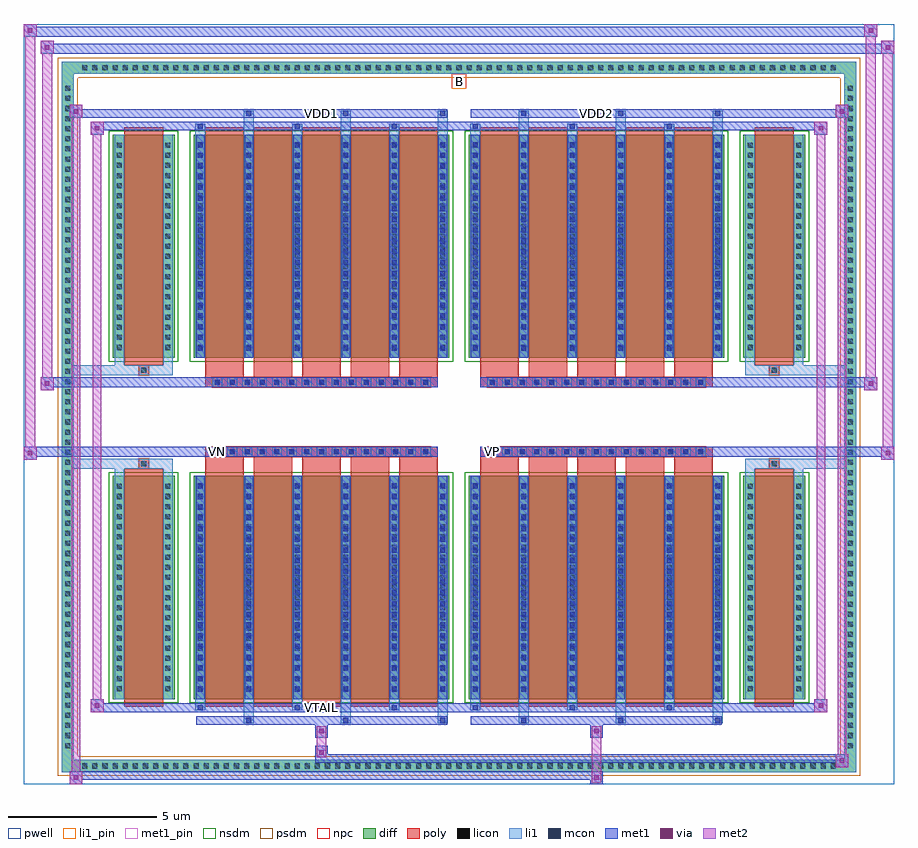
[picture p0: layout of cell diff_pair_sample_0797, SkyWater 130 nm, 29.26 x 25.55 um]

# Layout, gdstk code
import gdstk
lib = gdstk.Library(unit=1e-6, precision=5e-09)
def R(c, l, rs):  # rectangles x0, y0, x1, y1
    for r in rs: c.add(gdstk.rectangle(r[:2], r[2:], *l))
def A(c, l, x, y, w, h, nx, ny, dx, dy):  # array of equal rectangles
    R(c, l, [(x+i*dx, y+j*dy, x+i*dx+w, y+j*dy+h) for i in range(nx) for j in range(ny)])
def P(c, l, *ps):  # polygons
    for p in ps: c.add(gdstk.Polygon(p, *l))
pwell = (64, 44)
diff = (65, 20)
poly = (66, 20)
licon = (66, 44)
li1_pin = (67, 16)
li1 = (67, 20)
mcon = (67, 44)
met1_pin = (68, 16)
met1 = (68, 20)
via = (68, 44)
met2 = (69, 20)
nsdm = (93, 44)
psdm = (94, 20)
npc = (95, 20)

diff_pair_sample_0797 = lib.new_cell('diff_pair_sample_0797')
R(diff_pair_sample_0797, pwell, [(-14.63,-12.34,14.63,13.21), (-11.95,-10.53,-0.01,-0.805), (0.01,-10.53,11.95,-0.805), (-11.95,0.805,-0.01,10.53), (0.01,0.805,11.95,10.53)])
A(diff_pair_sample_0797, diff, -12.785, -11.94, 0.41, 0.41, 75, 2, 0.34, 23.47)
A(diff_pair_sample_0797, diff, -13.36, -11.255, 0.41, 0.41, 1, 66, 0, 0.34)
A(diff_pair_sample_0797, diff, 12.95, -11.255, 0.41, 0.41, 1, 66, 0, 0.34)
R(diff_pair_sample_0797, diff, [(-12.785,-11.94,12.785,-11.53), (-13.36,-11.255,-12.95,11.255), (12.95,-11.255,13.36,11.255), (-11.64,-9.485,-9.56,-1.985), (-8.92,-9.485,-0.32,-1.985), (0.32,-9.485,8.92,-1.985), (9.56,-9.485,11.64,-1.985), (-11.64,1.985,-9.56,9.485), (-8.92,1.985,-0.32,9.485), (0.32,1.985,8.92,9.485), (9.56,1.985,11.64,9.485), (-12.785,11.53,12.785,11.94)])
P(diff_pair_sample_0797, diff, [(13.36,11.94),(-13.36,11.94),(-13.36,-11.53),(-12.95,-11.53),(-12.95,11.53),(12.95,11.53),(12.95,-11.53),(-12.95,-11.53),(-13.36,-11.53),(-13.36,-11.94),(13.36,-11.94)])
A(diff_pair_sample_0797, poly, -8.53, -9.735, 1.3, 8, 5, 2, 1.63, 11.47)
A(diff_pair_sample_0797, poly, 0.71, -9.735, 1.3, 8, 5, 2, 1.63, 11.47)
A(diff_pair_sample_0797, poly, -8.53, -1.735, 1.3, 0.4, 5, 2, 1.63, 3.07)
A(diff_pair_sample_0797, poly, 0.71, -1.735, 1.3, 0.4, 5, 2, 1.63, 3.07)
A(diff_pair_sample_0797, poly, -8.285, -1.335, 0.33, 0.33, 15, 2, 0.5, 2.34)
A(diff_pair_sample_0797, poly, 0.955, -1.335, 0.33, 0.33, 15, 2, 0.5, 2.34)
R(diff_pair_sample_0797, poly, [(-11.25,-9.735,-9.95,-1.735), (9.95,-9.735,11.25,-1.735), (-10.765,-1.735,-10.435,-1.405), (-10.765,-1.735,-10.435,-1.405), (10.435,-1.735,10.765,-1.405), (10.435,-1.735,10.765,-1.405), (-8.53,-1.335,-0.71,-1.005), (0.71,-1.335,8.53,-1.005), (-8.53,1.005,-0.71,1.335), (0.71,1.005,8.53,1.335), (-10.765,1.405,-10.435,1.735), (-10.765,1.405,-10.435,1.735), (10.435,1.405,10.765,1.735), (10.435,1.405,10.765,1.735), (-11.25,1.735,-9.95,9.735), (9.95,1.735,11.25,9.735)])
A(diff_pair_sample_0797, licon, -12.665, -11.82, 0.17, 0.17, 75, 2, 0.34, 23.47)
A(diff_pair_sample_0797, licon, -13.24, -11.135, 0.17, 0.17, 1, 66, 0, 0.34)
A(diff_pair_sample_0797, licon, 13.07, -11.135, 0.17, 0.17, 1, 66, 0, 0.34)
A(diff_pair_sample_0797, licon, -11.5, -9.22, 0.17, 0.17, 1, 21, 0, 0.34)
A(diff_pair_sample_0797, licon, -9.87, -9.22, 0.17, 0.17, 1, 21, 0, 0.34)
A(diff_pair_sample_0797, licon, -8.78, -9.22, 0.17, 0.17, 6, 21, 1.63, 0.34)
A(diff_pair_sample_0797, licon, 0.46, -9.22, 0.17, 0.17, 6, 21, 1.63, 0.34)
A(diff_pair_sample_0797, licon, 9.7, -9.22, 0.17, 0.17, 1, 21, 0, 0.34)
A(diff_pair_sample_0797, licon, 11.33, -9.22, 0.17, 0.17, 1, 21, 0, 0.34)
A(diff_pair_sample_0797, licon, -8.205, -1.255, 0.17, 0.17, 15, 2, 0.5, 2.34)
A(diff_pair_sample_0797, licon, 1.035, -1.255, 0.17, 0.17, 15, 2, 0.5, 2.34)
A(diff_pair_sample_0797, licon, -11.5, 2.25, 0.17, 0.17, 1, 21, 0, 0.34)
A(diff_pair_sample_0797, licon, -9.87, 2.25, 0.17, 0.17, 1, 21, 0, 0.34)
A(diff_pair_sample_0797, licon, -8.78, 2.25, 0.17, 0.17, 6, 21, 1.63, 0.34)
A(diff_pair_sample_0797, licon, 0.46, 2.25, 0.17, 0.17, 6, 21, 1.63, 0.34)
A(diff_pair_sample_0797, licon, 9.7, 2.25, 0.17, 0.17, 1, 21, 0, 0.34)
A(diff_pair_sample_0797, licon, 11.33, 2.25, 0.17, 0.17, 1, 21, 0, 0.34)
R(diff_pair_sample_0797, licon, [(-10.685,-1.655,-10.515,-1.485), (10.515,-1.655,10.685,-1.485), (-10.685,1.485,-10.515,1.655), (10.515,1.485,10.685,1.655)])
R(diff_pair_sample_0797, li1_pin, [(-0.25,11.03,0.25,11.53)])
A(diff_pair_sample_0797, li1, -12.745, -11.9, 0.33, 0.33, 75, 2, 0.34, 23.47)
A(diff_pair_sample_0797, li1, -13.32, -11.215, 0.33, 0.33, 1, 66, 0, 0.34)
A(diff_pair_sample_0797, li1, 12.99, -11.215, 0.33, 0.33, 1, 66, 0, 0.34)
A(diff_pair_sample_0797, li1, -7.23, -10.29, 0.33, 0.805, 3, 2, 3.26, 19.775)
A(diff_pair_sample_0797, li1, -7.15, -10.29, 0.17, 0.17, 3, 2, 3.26, 20.41)
A(diff_pair_sample_0797, li1, 2.01, -10.29, 0.33, 0.805, 3, 2, 3.26, 19.775)
A(diff_pair_sample_0797, li1, 2.09, -10.29, 0.17, 0.17, 3, 2, 3.26, 20.41)
A(diff_pair_sample_0797, li1, -8.86, -9.86, 0.33, 0.375, 3, 2, 3.26, 19.345)
A(diff_pair_sample_0797, li1, -8.78, -9.86, 0.17, 0.17, 3, 2, 3.26, 19.55)
A(diff_pair_sample_0797, li1, 0.38, -9.86, 0.33, 0.375, 3, 2, 3.26, 19.345)
A(diff_pair_sample_0797, li1, 0.46, -9.86, 0.17, 0.17, 3, 2, 3.26, 19.55)
A(diff_pair_sample_0797, li1, -8.86, -9.485, 0.33, 7.5, 6, 2, 1.63, 11.47)
A(diff_pair_sample_0797, li1, 0.38, -9.485, 0.33, 7.5, 6, 2, 1.63, 11.47)
A(diff_pair_sample_0797, li1, -11.58, -9.3, 0.33, 0.33, 1, 21, 0, 0.34)
A(diff_pair_sample_0797, li1, -9.95, -9.3, 0.33, 0.33, 1, 21, 0, 0.34)
A(diff_pair_sample_0797, li1, -8.86, -9.3, 0.33, 0.33, 6, 21, 1.63, 0.34)
A(diff_pair_sample_0797, li1, 0.38, -9.3, 0.33, 0.33, 6, 21, 1.63, 0.34)
A(diff_pair_sample_0797, li1, 9.62, -9.3, 0.33, 0.33, 1, 21, 0, 0.34)
A(diff_pair_sample_0797, li1, 11.25, -9.3, 0.33, 0.33, 1, 21, 0, 0.34)
A(diff_pair_sample_0797, li1, -8.78, -9.24, 0.17, 0.17, 6, 20, 1.63, 0.36)
A(diff_pair_sample_0797, li1, -8.78, -9.24, 0.17, 7.01, 6, 2, 1.63, 11.47)
A(diff_pair_sample_0797, li1, 0.46, -9.24, 0.17, 0.17, 6, 20, 1.63, 0.36)
A(diff_pair_sample_0797, li1, 0.46, -9.24, 0.17, 7.01, 6, 2, 1.63, 11.47)
A(diff_pair_sample_0797, li1, -8.285, -1.335, 0.33, 0.33, 15, 2, 0.5, 2.34)
A(diff_pair_sample_0797, li1, 0.955, -1.335, 0.33, 0.33, 15, 2, 0.5, 2.34)
A(diff_pair_sample_0797, li1, -11.58, 2.17, 0.33, 0.33, 1, 21, 0, 0.34)
A(diff_pair_sample_0797, li1, -9.95, 2.17, 0.33, 0.33, 1, 21, 0, 0.34)
A(diff_pair_sample_0797, li1, -8.86, 2.17, 0.33, 0.33, 6, 21, 1.63, 0.34)
A(diff_pair_sample_0797, li1, 0.38, 2.17, 0.33, 0.33, 6, 21, 1.63, 0.34)
A(diff_pair_sample_0797, li1, 9.62, 2.17, 0.33, 0.33, 1, 21, 0, 0.34)
A(diff_pair_sample_0797, li1, 11.25, 2.17, 0.33, 0.33, 1, 21, 0, 0.34)
A(diff_pair_sample_0797, li1, -8.78, 2.23, 0.17, 0.17, 6, 20, 1.63, 0.36)
A(diff_pair_sample_0797, li1, 0.46, 2.23, 0.17, 0.17, 6, 20, 1.63, 0.36)
R(diff_pair_sample_0797, li1, [(-13.36,-11.94,-12.95,-11.53), (-13.36,-11.94,-12.95,-11.53), (-12.95,-11.94,12.95,-11.53), (12.95,-11.94,13.36,-11.53), (12.95,-11.94,13.36,-11.53), (-13.36,-11.53,-12.95,11.53), (12.95,-11.53,13.36,11.53), (-11.58,-9.485,-11.25,-1.985), (-9.95,-9.485,-9.62,-1.985), (9.62,-9.485,9.95,-1.985), (11.25,-9.485,11.58,-1.985), (-11.58,-1.985,-11.25,-1.405), (-9.95,-1.985,-9.62,-1.405), (9.62,-1.985,9.95,-1.405), (11.25,-1.985,11.58,-1.405), (-13.36,-1.735,-10.765,-1.405), (-11.58,-1.735,-10.765,-1.405), (-10.765,-1.735,-10.435,-1.405), (-10.435,-1.735,-9.62,-1.405), (9.62,-1.735,10.435,-1.405), (10.435,-1.735,10.765,-1.405), (10.435,-1.735,13.36,-1.405), (10.765,-1.735,11.58,-1.405), (-13.36,1.405,-10.765,1.735), (-11.58,1.405,-10.765,1.735), (-11.58,1.405,-11.25,1.985), (-10.765,1.405,-10.435,1.735), (-10.435,1.405,-9.62,1.735), (-9.95,1.405,-9.62,1.985), (9.62,1.405,10.435,1.735), (9.62,1.405,9.95,1.985), (10.435,1.405,10.765,1.735), (10.435,1.405,13.36,1.735), (10.765,1.405,11.58,1.735), (11.25,1.405,11.58,1.985), (-11.58,1.985,-11.25,9.485), (-9.95,1.985,-9.62,9.485), (9.62,1.985,9.95,9.485), (11.25,1.985,11.58,9.485), (-13.36,11.53,-12.95,11.94), (-13.36,11.53,-12.95,11.94), (-12.95,11.53,12.95,11.94), (12.95,11.53,13.36,11.94), (12.95,11.53,13.36,11.94)])
A(diff_pair_sample_0797, mcon, -7.15, -10.29, 0.17, 0.17, 3, 2, 3.26, 20.41)
A(diff_pair_sample_0797, mcon, 2.09, -10.29, 0.17, 0.17, 3, 2, 3.26, 20.41)
A(diff_pair_sample_0797, mcon, -8.78, -9.86, 0.17, 0.17, 3, 2, 3.26, 19.55)
A(diff_pair_sample_0797, mcon, 0.46, -9.86, 0.17, 0.17, 3, 2, 3.26, 19.55)
A(diff_pair_sample_0797, mcon, -8.78, -9.24, 0.17, 0.17, 6, 20, 1.63, 0.36)
A(diff_pair_sample_0797, mcon, 0.46, -9.24, 0.17, 0.17, 6, 20, 1.63, 0.36)
A(diff_pair_sample_0797, mcon, -8.205, -1.255, 0.17, 0.17, 15, 2, 0.5, 2.34)
A(diff_pair_sample_0797, mcon, 1.035, -1.255, 0.17, 0.17, 15, 2, 0.5, 2.34)
A(diff_pair_sample_0797, mcon, -8.78, 2.23, 0.17, 0.17, 6, 20, 1.63, 0.36)
A(diff_pair_sample_0797, mcon, 0.46, 2.23, 0.17, 0.17, 6, 20, 1.63, 0.36)
R(diff_pair_sample_0797, met1_pin, [(-4.755,-9.9,-4.485,-9.63), (-8.255,-1.295,-7.985,-1.025), (0.985,-1.295,1.255,-1.025), (-4.755,10.08,-4.485,10.35), (4.485,10.08,4.755,10.35)])
A(diff_pair_sample_0797, met1, -7.21, -10.35, 0.29, 0.29, 3, 2, 3.26, 20.41)
A(diff_pair_sample_0797, met1, 2.03, -10.35, 0.29, 0.29, 3, 2, 3.26, 20.41)
A(diff_pair_sample_0797, met1, -8.84, -9.92, 0.29, 0.29, 3, 2, 3.26, 19.55)
A(diff_pair_sample_0797, met1, 0.4, -9.92, 0.29, 0.29, 3, 2, 3.26, 19.55)
A(diff_pair_sample_0797, met1, -8.84, -9.485, 0.29, 7.5, 6, 2, 1.63, 11.47)
A(diff_pair_sample_0797, met1, 0.4, -9.485, 0.29, 7.5, 6, 2, 1.63, 11.47)
A(diff_pair_sample_0797, met1, -8.84, -9.3, 0.29, 0.29, 6, 20, 1.63, 0.36)
A(diff_pair_sample_0797, met1, 0.4, -9.3, 0.29, 0.29, 6, 20, 1.63, 0.36)
A(diff_pair_sample_0797, met1, -8.265, -1.315, 0.29, 0.29, 15, 2, 0.5, 2.34)
A(diff_pair_sample_0797, met1, 0.975, -1.315, 0.29, 0.29, 15, 2, 0.5, 2.34)
A(diff_pair_sample_0797, met1, -8.84, 2.17, 0.29, 0.29, 6, 20, 1.63, 0.36)
A(diff_pair_sample_0797, met1, 0.4, 2.17, 0.29, 0.29, 6, 20, 1.63, 0.36)
R(diff_pair_sample_0797, met1, [(-13.09,-12.34,-12.66,-11.91), (4.405,-12.34,4.835,-11.91), (-13.09,-12.2,4.835,-11.91), (12.66,-11.77,13.09,-11.34), (-4.835,-11.63,13.09,-11.34), (-4.835,-11.49,-4.405,-11.06), (-4.835,-10.78,-4.405,-10.35), (4.405,-10.78,4.835,-10.35), (-8.84,-10.35,-0.4,-10.06), (0.4,-10.35,8.84,-10.06), (-12.38,-9.92,-11.95,-9.49), (-12.38,-9.92,-8.84,-9.63), (-8.84,-9.92,-0.4,-9.63), (-0.4,-9.92,0.4,-9.63), (0.4,-9.92,8.84,-9.63), (8.84,-9.92,12.38,-9.63), (11.95,-9.92,12.38,-9.49), (-14.63,-1.435,-14.2,-1.005), (14.2,-1.435,14.63,-1.005), (-14.63,-1.335,-0.71,-1.005), (-8.53,-1.335,-0.71,-1.005), (0.71,-1.335,8.53,-1.005), (0.71,-1.335,14.63,-1.005), (-14.06,0.905,-13.63,1.335), (13.63,0.905,14.06,1.335), (-14.06,1.005,-8.53,1.335), (-8.53,1.005,-0.71,1.335), (0.71,1.005,8.53,1.335), (8.53,1.005,14.06,1.335), (-12.38,9.49,-11.95,9.92), (11.95,9.49,12.38,9.92), (-12.38,9.63,-8.84,9.92), (-8.84,9.63,-0.4,9.92), (-0.4,9.63,0.4,9.92), (0.4,9.63,8.84,9.92), (8.84,9.63,12.38,9.92), (-13.09,10.06,-12.66,10.49), (-13.09,10.06,-8.84,10.35), (-8.84,10.06,-0.4,10.35), (0.4,10.06,8.84,10.35), (8.84,10.06,13.09,10.35), (12.66,10.06,13.09,10.49), (-14.06,12.21,-13.63,12.64), (-14.06,12.21,-11.95,12.54), (-11.95,12.21,11.95,12.54), (11.95,12.21,14.63,12.54), (14.2,12.21,14.63,12.64), (-14.63,12.78,-14.2,13.21), (-14.63,12.78,-11.95,13.11), (-11.95,12.78,11.95,13.11), (11.95,12.78,14.06,13.11), (13.63,12.78,14.06,13.21)])
R(diff_pair_sample_0797, via, [(-12.95,-12.2,-12.8,-12.05), (4.545,-12.2,4.695,-12.05), (12.8,-11.63,12.95,-11.48), (-4.695,-11.35,-4.545,-11.2), (-4.695,-10.64,-4.545,-10.49), (4.545,-10.64,4.695,-10.49), (-12.24,-9.78,-12.09,-9.63), (12.09,-9.78,12.24,-9.63), (-14.49,-1.295,-14.34,-1.145), (14.34,-1.295,14.49,-1.145), (-13.92,1.045,-13.77,1.195), (13.77,1.045,13.92,1.195), (-12.24,9.63,-12.09,9.78), (12.09,9.63,12.24,9.78), (-12.95,10.2,-12.8,10.35), (12.8,10.2,12.95,10.35), (-13.92,12.35,-13.77,12.5), (14.34,12.35,14.49,12.5), (-14.49,12.92,-14.34,13.07), (13.77,12.92,13.92,13.07)])
R(diff_pair_sample_0797, met2, [(-13.09,-12.34,-12.66,-11.91), (-13.02,-12.34,-12.73,10.49), (-12.73,-12.34,-12.66,-11.91), (-13.04,-12.29,-12.71,-11.96), (4.455,-12.29,4.785,-11.96), (4.455,-11.96,4.785,-10.73), (12.66,-11.77,13.09,-11.34), (12.73,-11.77,13.02,10.49), (13.02,-11.77,13.09,-11.34), (12.71,-11.72,13.04,-11.39), (-4.785,-11.44,-4.455,-11.11), (-4.785,-11.11,-4.455,-10.73), (-4.785,-10.73,-4.455,-10.4), (4.455,-10.73,4.785,-10.4), (-12.38,-9.92,-11.95,-9.49), (-12.31,-9.92,-12.02,9.92), (-12.02,-9.92,-11.95,-9.49), (11.95,-9.92,12.38,-9.49), (12.02,-9.92,12.31,9.92), (12.31,-9.92,12.38,-9.49), (-12.33,-9.87,-12,-9.54), (12,-9.87,12.33,-9.54), (-14.63,-1.435,-14.2,-1.005), (-14.58,-1.435,-14.25,13.21), (-14.25,-1.435,-14.2,-1.005), (14.2,-1.435,14.63,-1.005), (14.25,-1.435,14.58,12.64), (14.58,-1.435,14.63,-1.005), (-14.58,-1.385,-14.25,-1.055), (14.25,-1.385,14.58,-1.055), (-14.06,0.905,-13.63,1.335), (-14.01,0.905,-13.68,12.64), (-13.68,0.905,-13.63,1.335), (13.63,0.905,14.06,1.335), (13.68,0.905,14.01,13.21), (14.01,0.905,14.06,1.335), (-14.01,0.955,-13.68,1.285), (13.68,0.955,14.01,1.285), (-12.38,9.49,-11.95,9.92), (-12.02,9.49,-11.95,9.92), (11.95,9.49,12.38,9.92), (12.31,9.49,12.38,9.92), (-12.33,9.54,-12,9.87), (12,9.54,12.33,9.87), (-13.09,10.06,-12.66,10.49), (-12.73,10.06,-12.66,10.49), (12.66,10.06,13.09,10.49), (13.02,10.06,13.09,10.49), (-13.04,10.11,-12.71,10.44), (12.71,10.11,13.04,10.44), (-14.06,12.21,-13.63,12.64), (-13.68,12.21,-13.63,12.64), (14.2,12.21,14.63,12.64), (14.58,12.21,14.63,12.64), (-14.01,12.26,-13.68,12.59), (14.25,12.26,14.58,12.59), (-14.63,12.78,-14.2,13.21), (-14.25,12.78,-14.2,13.21), (13.63,12.78,14.06,13.21), (14.01,12.78,14.06,13.21), (-14.58,12.83,-14.25,13.16), (13.68,12.83,14.01,13.16)])
R(diff_pair_sample_0797, nsdm, [(-11.77,-9.615,-9.43,-1.855), (-9.05,-9.615,-0.19,-1.855), (0.19,-9.615,9.05,-1.855), (9.43,-9.615,11.77,-1.855), (-11.77,1.855,-9.43,9.615), (-9.05,1.855,-0.19,9.615), (0.19,1.855,9.05,9.615), (9.43,1.855,11.77,9.615)])
P(diff_pair_sample_0797, psdm, [(13.49,12.07),(-13.49,12.07),(-13.49,-11.4),(-12.82,-11.4),(-12.82,11.4),(12.82,11.4),(12.82,-11.4),(-12.82,-11.4),(-13.49,-11.4),(-13.49,-12.07),(13.49,-12.07)])
A(diff_pair_sample_0797, npc, -8.305, -1.355, 0.37, 0.37, 15, 2, 0.5, 2.34)
A(diff_pair_sample_0797, npc, 0.935, -1.355, 0.37, 0.37, 15, 2, 0.5, 2.34)
R(diff_pair_sample_0797, npc, [(-10.785,-1.755,-10.415,-1.385), (10.415,-1.755,10.785,-1.385), (-8.305,-1.355,-7.435,-0.985), (-8.305,-1.355,-7.435,-0.985), (-7.805,-1.355,-6.935,-0.985), (-7.805,-1.355,-6.935,-0.985), (-7.305,-1.355,-6.435,-0.985), (-7.305,-1.355,-6.435,-0.985), (-6.805,-1.355,-5.935,-0.985), (-6.805,-1.355,-5.935,-0.985), (-6.305,-1.355,-5.435,-0.985), (-6.305,-1.355,-5.435,-0.985), (-5.805,-1.355,-4.935,-0.985), (-5.805,-1.355,-4.935,-0.985), (-5.305,-1.355,-4.435,-0.985), (-5.305,-1.355,-4.435,-0.985), (-4.805,-1.355,-3.935,-0.985), (-4.805,-1.355,-3.935,-0.985), (-4.305,-1.355,-3.435,-0.985), (-4.305,-1.355,-3.435,-0.985), (-3.805,-1.355,-2.935,-0.985), (-3.805,-1.355,-2.935,-0.985), (-3.305,-1.355,-2.435,-0.985), (-3.305,-1.355,-2.435,-0.985), (-2.805,-1.355,-1.935,-0.985), (-2.805,-1.355,-1.935,-0.985), (-2.305,-1.355,-1.435,-0.985), (-2.305,-1.355,-1.435,-0.985), (-1.805,-1.355,-0.935,-0.985), (-1.805,-1.355,-0.935,-0.985), (0.935,-1.355,1.805,-0.985), (0.935,-1.355,1.805,-0.985), (1.435,-1.355,2.305,-0.985), (1.435,-1.355,2.305,-0.985), (1.935,-1.355,2.805,-0.985), (1.935,-1.355,2.805,-0.985), (2.435,-1.355,3.305,-0.985), (2.435,-1.355,3.305,-0.985), (2.935,-1.355,3.805,-0.985), (2.935,-1.355,3.805,-0.985), (3.435,-1.355,4.305,-0.985), (3.435,-1.355,4.305,-0.985), (3.935,-1.355,4.805,-0.985), (3.935,-1.355,4.805,-0.985), (4.435,-1.355,5.305,-0.985), (4.435,-1.355,5.305,-0.985), (4.935,-1.355,5.805,-0.985), (4.935,-1.355,5.805,-0.985), (5.435,-1.355,6.305,-0.985), (5.435,-1.355,6.305,-0.985), (5.935,-1.355,6.805,-0.985), (5.935,-1.355,6.805,-0.985), (6.435,-1.355,7.305,-0.985), (6.435,-1.355,7.305,-0.985), (6.935,-1.355,7.805,-0.985), (6.935,-1.355,7.805,-0.985), (7.435,-1.355,8.305,-0.985), (7.435,-1.355,8.305,-0.985), (-8.305,0.985,-7.435,1.355), (-8.305,0.985,-7.435,1.355), (-7.805,0.985,-6.935,1.355), (-7.805,0.985,-6.935,1.355), (-7.305,0.985,-6.435,1.355), (-7.305,0.985,-6.435,1.355), (-6.805,0.985,-5.935,1.355), (-6.805,0.985,-5.935,1.355), (-6.305,0.985,-5.435,1.355), (-6.305,0.985,-5.435,1.355), (-5.805,0.985,-4.935,1.355), (-5.805,0.985,-4.935,1.355), (-5.305,0.985,-4.435,1.355), (-5.305,0.985,-4.435,1.355), (-4.805,0.985,-3.935,1.355), (-4.805,0.985,-3.935,1.355), (-4.305,0.985,-3.435,1.355), (-4.305,0.985,-3.435,1.355), (-3.805,0.985,-2.935,1.355), (-3.805,0.985,-2.935,1.355), (-3.305,0.985,-2.435,1.355), (-3.305,0.985,-2.435,1.355), (-2.805,0.985,-1.935,1.355), (-2.805,0.985,-1.935,1.355), (-2.305,0.985,-1.435,1.355), (-2.305,0.985,-1.435,1.355), (-1.805,0.985,-0.935,1.355), (-1.805,0.985,-0.935,1.355), (0.935,0.985,1.805,1.355), (0.935,0.985,1.805,1.355), (1.435,0.985,2.305,1.355), (1.435,0.985,2.305,1.355), (1.935,0.985,2.805,1.355), (1.935,0.985,2.805,1.355), (2.435,0.985,3.305,1.355), (2.435,0.985,3.305,1.355), (2.935,0.985,3.805,1.355), (2.935,0.985,3.805,1.355), (3.435,0.985,4.305,1.355), (3.435,0.985,4.305,1.355), (3.935,0.985,4.805,1.355), (3.935,0.985,4.805,1.355), (4.435,0.985,5.305,1.355), (4.435,0.985,5.305,1.355), (4.935,0.985,5.805,1.355), (4.935,0.985,5.805,1.355), (5.435,0.985,6.305,1.355), (5.435,0.985,6.305,1.355), (5.935,0.985,6.805,1.355), (5.935,0.985,6.805,1.355), (6.435,0.985,7.305,1.355), (6.435,0.985,7.305,1.355), (6.935,0.985,7.805,1.355), (6.935,0.985,7.805,1.355), (7.435,0.985,8.305,1.355), (7.435,0.985,8.305,1.355), (-10.785,1.385,-10.415,1.755), (10.415,1.385,10.785,1.755)])
diff_pair_sample_0797.add(gdstk.Label('VTAIL', (-4.62,-9.765), layer=68, texttype=5))
diff_pair_sample_0797.add(gdstk.Label('VN', (-8.12,-1.16), layer=68, texttype=5))
diff_pair_sample_0797.add(gdstk.Label('VP', (1.12,-1.16), layer=68, texttype=5))
diff_pair_sample_0797.add(gdstk.Label('B', (0,11.28), layer=67, texttype=5))
diff_pair_sample_0797.add(gdstk.Label('VDD2', (4.62,10.215), layer=68, texttype=5))
diff_pair_sample_0797.add(gdstk.Label('VDD1', (-4.62,10.215), layer=68, texttype=5))

lib.write_gds('diff_pair_sample_0797.gds')
